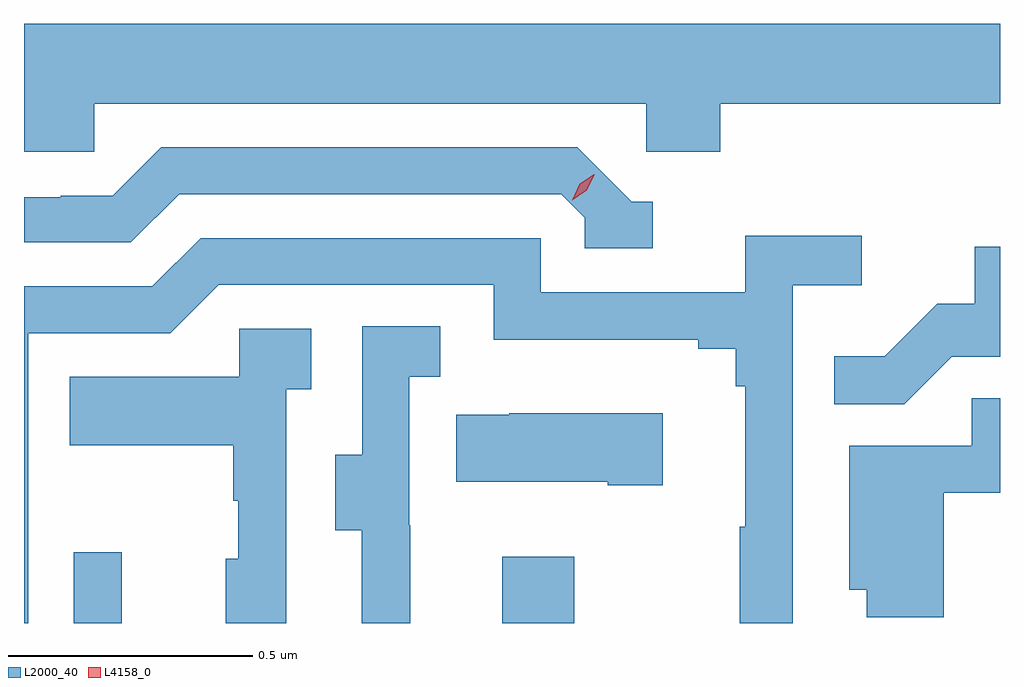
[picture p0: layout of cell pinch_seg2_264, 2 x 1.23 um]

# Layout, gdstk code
import gdstk
lib = gdstk.Library(unit=1e-6, precision=1e-09)
def R(c, l, rs):  # rectangles x0, y0, x1, y1
    for r in rs: c.add(gdstk.rectangle(r[:2], r[2:], *l))
def P(c, l, *ps):  # polygons
    for p in ps: c.add(gdstk.Polygon(p, *l))
L2000_40 = (2000, 40)
L4158_0 = (4158, 0)

pinch_seg2_264 = lib.new_cell('pinch_seg2_264')
R(pinch_seg2_264, L2000_40, [(916.131,654.564,916.229,654.709), (917.009,654.564,917.157,654.7)])
P(pinch_seg2_264, L2000_40, [(916.173,655.628),(917.304,655.628),(917.304,655.53),(917.456,655.53),(917.456,655.628),(918.029,655.628),(918.029,655.792),(916.029,655.792),(916.029,655.53),(916.173,655.53)],
  [(917.317,655.428),(917.274,655.428),(917.163,655.539),(916.31,655.539),(916.211,655.44),(916.104,655.44),(916.104,655.437),(916.029,655.437),(916.029,655.344),(916.248,655.344),(916.347,655.443),(917.13,655.443),(917.178,655.395),(917.178,655.332),(917.317,655.332)],
  [(916.038,655.158),(916.329,655.158),(916.428,655.257),(916.992,655.257),(916.992,655.145),(917.411,655.145),(917.411,655.126),(917.488,655.126),(917.488,655.049),(917.507,655.049),(917.507,654.761),(917.496,654.761),(917.496,654.564),(917.604,654.564),(917.604,655.256),(917.746,655.256),(917.746,655.358),(917.507,655.358),(917.507,655.242),(917.088,655.242),(917.088,655.353),(916.391,655.353),(916.292,655.254),(916.029,655.254),(916.029,654.564),(916.038,654.564)],
  [(917.93,655.11),(918.029,655.11),(918.029,655.335),(917.977,655.335),(917.977,655.218),(917.9,655.218),(917.793,655.111),(917.689,655.111),(917.689,655.013),(917.833,655.013)],
  [(916.82,654.765),(916.818,654.765),(916.818,655.069),(916.882,655.069),(916.882,655.172),(916.722,655.172),(916.722,654.909),(916.667,654.909),(916.667,654.754),(916.721,654.754),(916.721,654.564),(916.82,654.564)],
  [(916.566,655.043),(916.618,655.043),(916.618,655.167),(916.47,655.167),(916.47,655.069),(916.123,655.069),(916.123,654.929),(916.458,654.929),(916.458,654.815),(916.468,654.815),(916.468,654.696),(916.442,654.696),(916.442,654.564),(916.566,654.564)],
  [(917.914,654.831),(918.029,654.831),(918.029,655.025),(917.971,655.025),(917.971,654.927),(917.72,654.927),(917.72,654.632),(917.756,654.632),(917.756,654.576),(917.914,654.576)],
  [(917.338,654.994),(917.023,654.994),(917.023,654.991),(916.915,654.991),(916.915,654.854),(917.225,654.854),(917.225,654.847),(917.338,654.847)])
P(pinch_seg2_264, L4158_0, [(917.152,655.431),(917.152,655.431),(917.168,655.464),(917.198,655.484),(917.198,655.484),(917.198,655.483),(917.182,655.451),(917.152,655.431)])

lib.write_gds('pinch_seg2_264.gds')
